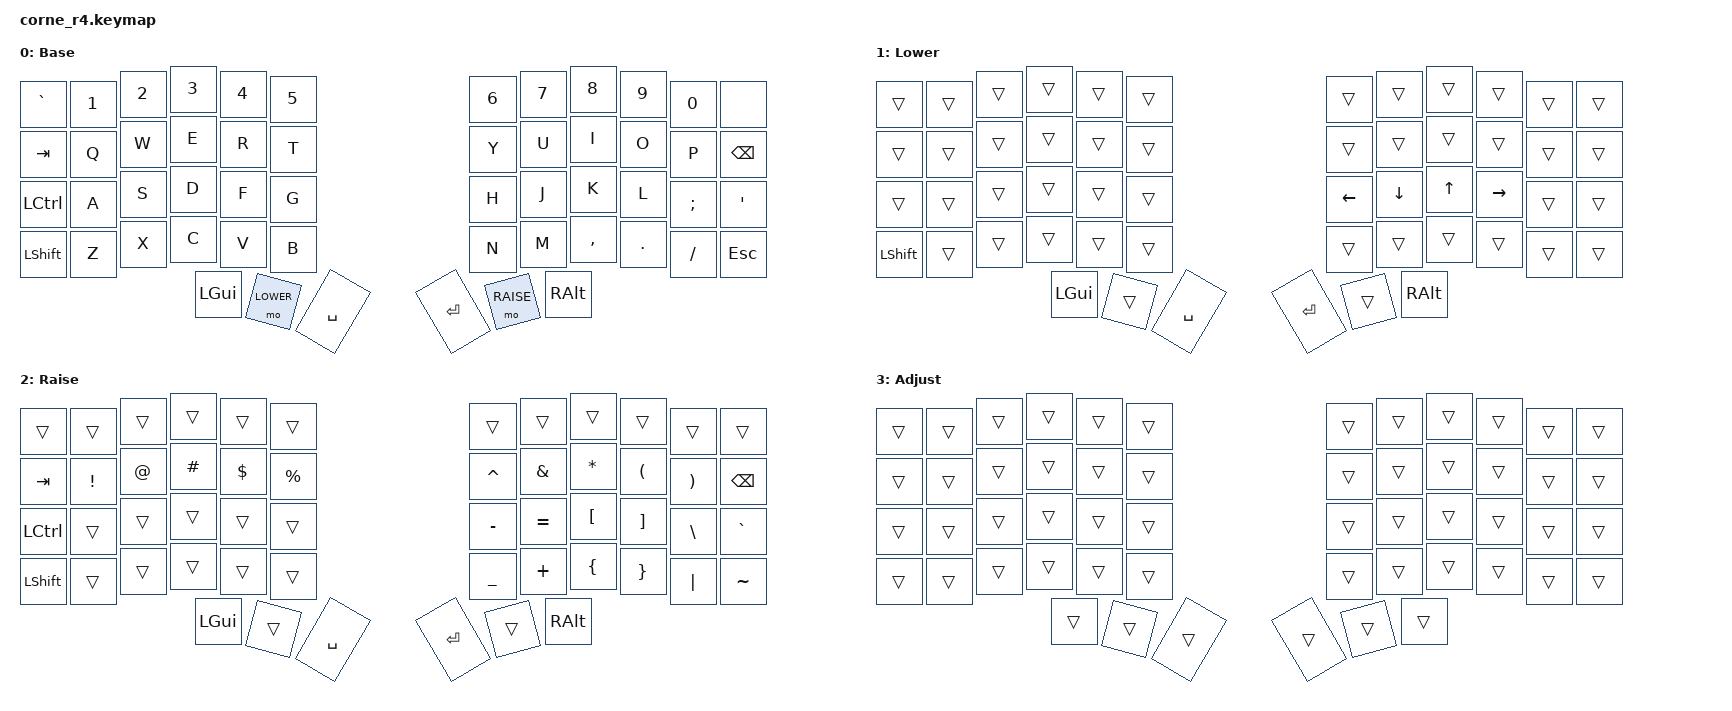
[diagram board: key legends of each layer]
/*
 * Copyright (c) 2020 The ZMK Contributors
 *
 * SPDX-License-Identifier: MIT
 */

#include <behaviors.dtsi>
#include <dt-bindings/zmk/keys.h>
#include <dt-bindings/zmk/bt.h>

#define BASE 0
#define LOWER 1
#define RAISE 2
#define ADJUST 3

/ {

        conditional_layers {
                compatible = "zmk,conditional-layers";
                adjust_layer {
                if-layers = <LOWER RAISE>;
                then-layer = <ADJUST>;
                };
        };
    
        keymap {
                compatible = "zmk,keymap";

                default_layer {
                        display-name = "Base";
                        bindings = <
   &kp GRAVE &kp N1 &kp N2 &kp N3 &kp N4 &kp N5         &kp N6  &kp N7    &kp N8    &kp N9  &kp N0   &none
   &kp TAB   &kp Q  &kp W  &kp E  &kp R  &kp T          &kp Y   &kp U     &kp I     &kp O   &kp P    &kp BSPC
   &kp LCTRL &kp A  &kp S  &kp D  &kp F  &kp G          &kp H   &kp J     &kp K     &kp L   &kp SEMI &kp SQT
   &kp LSHFT &kp Z  &kp X  &kp C  &kp V  &kp B          &kp N   &kp M     &kp COMMA &kp DOT &kp FSLH &kp ESC
                    &kp LGUI  &mo LOWER  &kp SPACE      &kp RET &mo RAISE &kp RALT
                        >;
                };
                lower_layer {
                        display-name = "Lower";
                        bindings = <
   &trans     &trans    &trans   &trans   &trans  &trans        &trans   &trans   &trans &trans    &trans &trans
   &trans     &trans    &trans   &trans   &trans  &trans        &trans   &trans   &trans &trans    &trans &trans
   &trans     &trans    &trans   &trans   &trans  &trans        &kp LEFT &kp DOWN &kp UP &kp RIGHT &trans &trans
   &kp LSHFT  &trans    &trans   &trans   &trans  &trans        &trans   &trans   &trans &trans    &trans &trans
                                 &kp LGUI &trans  &kp SPACE     &kp RET  &trans   &kp RALT
                        >;
                };

                raise_layer {
                        display-name = "Raise";
                        bindings = <
   &trans    &trans   &trans &trans   &trans   &trans      &trans    &trans    &trans    &trans   &trans   &trans
   &kp  TAB  &kp EXCL &kp AT &kp HASH &kp DLLR &kp PRCNT   &kp CARET &kp AMPS  &kp ASTRK &kp LPAR &kp RPAR &kp BSPC
   &kp LCTRL &trans   &trans &trans   &trans   &trans      &kp MINUS &kp EQUAL &kp LBKT  &kp RBKT &kp BSLH &kp GRAVE
   &kp LSHFT &trans   &trans &trans   &trans   &trans      &kp UNDER &kp PLUS  &kp LBRC  &kp RBRC &kp PIPE &kp TILDE
                             &kp LGUI &trans   &kp SPACE   &kp RET   &trans    &kp RALT
                        >;
                };

                adjust_layer {
                        display-name = "Adjust";
                        bindings = <
   &trans    &trans   &trans &trans   &trans   &trans      &trans    &trans    &trans    &trans   &trans   &trans
   &trans    &trans   &trans &trans   &trans   &trans      &trans    &trans    &trans    &trans   &trans   &trans
   &trans    &trans   &trans &trans   &trans   &trans      &trans    &trans    &trans    &trans   &trans   &trans
   &trans    &trans   &trans &trans   &trans   &trans      &trans    &trans    &trans    &trans   &trans   &trans
                             &trans   &trans   &trans      &trans    &trans    &trans
                        >;
                };

                extra_layer_1 {
                        status = "reserved";
                };

                extra_layer_2 {
                        status = "reserved";
                };

                extra_layer_3 {
                        status = "reserved";
                };
        };
};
